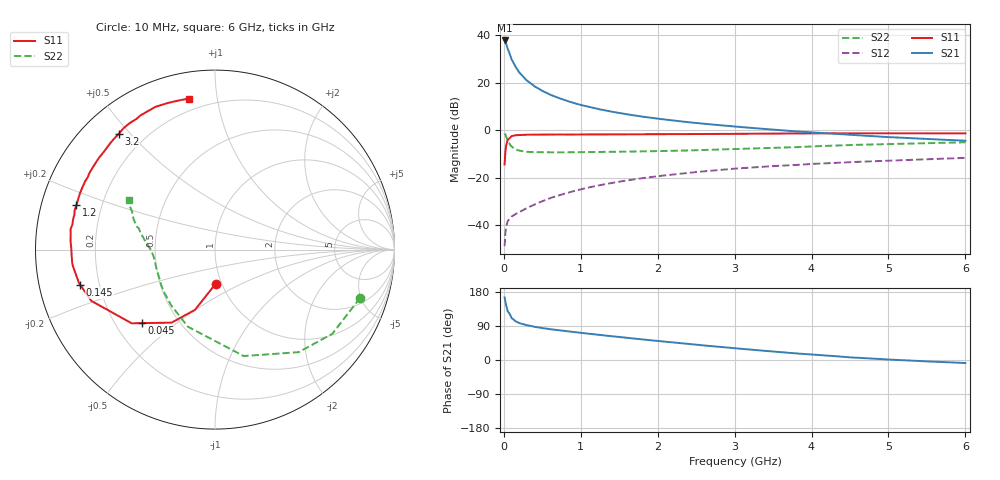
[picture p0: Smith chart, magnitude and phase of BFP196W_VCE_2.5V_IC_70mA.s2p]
! Infineon Technologies  Discrete & RF Semiconductors
! BFP196W
! VCE = 2.5 V,  IC =  70mA
! Common Emitter S-Parameters:  Jan 2016
# GHz  S  MA  R  50
!  f  S11  S21  S12  S22
! GHz  MAG  ANG  MAG  ANG  MAG  ANG  MAG  ANG
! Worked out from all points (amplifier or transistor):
!   210 points, 10 MHz to 6 GHz, reference 50 ohm
!   highest |S21| = 37.8 dB at 10 MHz (marker M1)
!   |S21| within 3 dB of that: start of sweep to 45.22 MHz
!   unconditionally stable (mu >= 1): 485.7 MHz to 3.338 GHz
!   at 185 MHz: K = 0.66, MSG = 29.9 dB, |S12| = -34.8 dB
!   at 1.52 GHz: K = 1.11, MAG = 12.4 dB, |S12| = -21.6 dB
!   at 6 GHz: K = 0.97, MSG = 3.6 dB, |S12| = -11.7 dB
!   S11 on the Smith chart (normalised r, x): 10 MHz: 0.94, -0.37; 45 MHz: 0.31, -0.38; 145 MHz: 0.13, -0.13; 1.2 GHz: 0.11, +0.15; 3.2 GHz: 0.11, +0.47; 6 GHz: 0.13, +0.83
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0.01  0.1898 -88.8  77.25 165.1  0.0036 75.9  0.8521 -18.4
0.02  0.3531 -108.3  72.83 154.0  0.0069 65.7  0.8045 -35.7
0.03  0.4733 -120.7  65.85 143.7  0.0091 60.8  0.7373 -50.8
0.045  0.5786 -134.9  54.83 133.1  0.0113 51.0  0.6335 -68.1
0.05  0.6197 -138.5  51.69 128.6  0.0121 48.5  0.6143 -74.9
0.1  0.7463 -157.5  31.08 110.7  0.0151 41.9  0.4554 -109.4
0.145  0.7762 -165.4  22.51 103.3  0.0167 42.2  0.3991 -126.1
0.15  0.7804 -166.2  21.59 102.1  0.0169 42.2  0.3952 -128.2
0.2  0.7896 -171.1  16.39 97.5  0.0188 45.7  0.3707 -139.5
0.24  0.7972 -173.5  13.9 94.9  0.0202 47.7  0.3615 -145.1
0.3  0.7993 -176.7  11.03 91.7  0.0229 51.3  0.3495 -152.1
0.4  0.8005 179.7  8.327 87.5  0.0271 55.7  0.3445 -158.6
0.6  0.8079 174.2  5.592 81.3  0.0368 60.7  0.3412 -166.4
0.8  0.8066 169.9  4.217 76.4  0.0465 63.3  0.3409 -170.1
1.02  0.8079 165.8  3.324 71.3  0.0577 63.9  0.3438 -173.0
1.2  0.8109 162.3  2.838 67.2  0.0669 63.9  0.3458 -174.8
2.02  0.8196 148.3  1.726 49.9  0.1079 59.4  0.3617 179.1
3.1  0.8363 131.3  1.153 29.4  0.1583 49.7  0.4041 170.8
3.2  0.8388 129.7  1.12 27.5  0.1624 48.7  0.4088 170.0
4.1  0.8559 117.7  0.878 13.1  0.1973 40.6  0.4599 162.7
5.1  0.8574 107.2  0.7 0.3  0.2304 32.3  0.5139 154.8
6  0.8538 99.9  0.599 -8.0  0.26 25.7  0.5544 150.3
